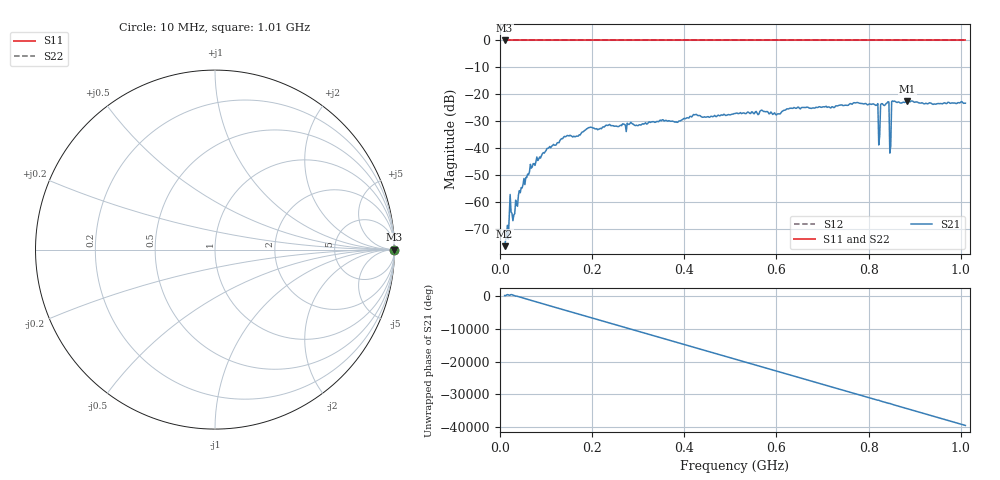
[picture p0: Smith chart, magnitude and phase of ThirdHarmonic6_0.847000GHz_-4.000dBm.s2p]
! 8/16/2025 4:02:45 AM
! C:\ANRITSUVNA\TEMP\TEMP.S2P
! CHANNEL.1
! TR.MEASUREMENT
! RAW.DATA
! RF.CORRECTION.OFF
! AVERAGING.OFF
! IF.BANDWIDTH: 5KHZ
! SWEEPTYPE:  FREQ.SWEEP(Linear)
! Reference Plane Port Info
! PORT:  PORT1  PORT2
! DISTANCE:  0  m  0  m
! TIME:  0  s  0  s
! PHASE.OFFSET:  0  deg.  0  deg.
! LOSS:  0  dB  0  dB
! REF.LOSS:  0  dB  0  dB
! REF.FREQ:  0  Hz  0  Hz
! Power Info
! POWER:  -20  dBm  -20  dBm
! EFF.POWER:  -20  dBm  -20  dBm
! SOURCE.ATTEN:  0  dB  0  dB
! TEST.ATTEN:  0  dB  0  dB
# GHZ S RI R 50.0
! FREQ.GHZ  S11RE  S11IM  S21RE  S21IM  S12RE  S12IM  S22RE  S22IM
!; PortSelection: Port_12
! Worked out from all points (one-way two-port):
!   501 points, 10 MHz to 1.01 GHz, reference 50 ohm
!   highest |S21| = -22.46 dB at 884 MHz (marker M1); lowest = -76.4 dB at 10 MHz (marker M2)
!   lowest |S11| = 0.0 dB at 10 MHz (marker M3)
!   |S11| at or under -10 dB: nowhere
!   |S22| runs from 0.0 to 0.0 dB; largest |S21 - S12| = 1.1
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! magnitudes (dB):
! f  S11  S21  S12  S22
! 10 MHz  0.0  -76.4  0.0  0.0
! 24 MHz  0.0  -63.7  0.0  0.0
! 28 MHz  0.0  -66.9  0.0  0.0
! 44 MHz  0.0  -56.6  0.0  0.0
! 70 MHz  0.0  -47.0  0.0  0.0
! 136 MHz  0.0  -36.5  0.0  0.0
! 178 MHz  0.0  -34.0  0.0  0.0
! 196 MHz  0.0  -32.2  0.0  0.0
! 344 MHz  0.0  -30.2  0.0  0.0
! 510 MHz  0.0  -27.1  0.0  0.0
! 602 MHz  0.0  -27.3  0.0  0.0
! 678 MHz  0.0  -25.1  0.0  0.0
! 816 MHz  0.0  -24.1  0.0  0.0
! 820 MHz  0.0  -23.5  0.0  0.0
! 826 MHz  0.0  -23.8  0.0  0.0
! 830 MHz  0.0  -23.5  0.0  0.0
! 840 MHz  0.0  -23.2  0.0  0.0
! 844 MHz  0.0  -22.9  0.0  0.0
! 850 MHz  0.0  -22.7  0.0  0.0
! 854 MHz  0.0  -22.7  0.0  0.0
! 884 MHz  0.0  -22.5  0.0  0.0
! 1.01 GHz  0.0  -23.3  0.0  0.0
